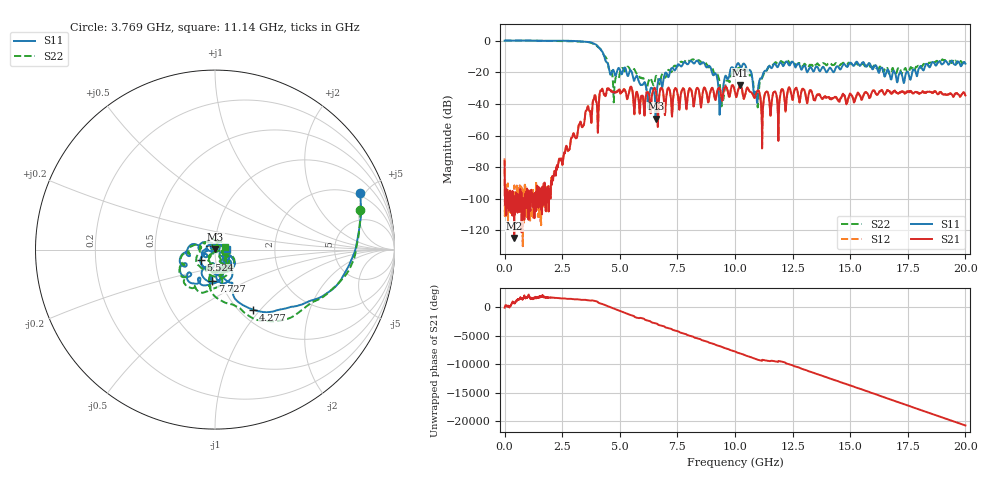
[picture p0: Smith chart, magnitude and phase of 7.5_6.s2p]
#  HZ  S  RI  R  50.00
! Rohde & Schwarz Vector Network Analyzer
! Rohde-Schwarz,ZNB20-2Port,1311601062102128,3.60
! Created: UTC 4/29/2024, 2:54:47 PM
! freq[Hz]  re:S11  im:S11  re:S21  im:S21  re:S12  im:S12  re:S22  im:S22
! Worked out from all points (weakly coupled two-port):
!   2007 points, 100 kHz to 20 GHz, reference 50 ohm
!   highest |S21| = -28.01 dB at 10.22 GHz (marker M1); lowest = -124.8 dB at 418.8 MHz (marker M2)
!   lowest |S11| = -49.4 dB at 6.56 GHz (marker M3), VSWR 1.01, Z = 50.3 + j0.22 ohm
!   |S11| at or under -10 dB: 4.325 GHz to end of sweep
!   |S22| runs from -42.2 to 0.1 dB; largest |S21 - S12| = 0.0023
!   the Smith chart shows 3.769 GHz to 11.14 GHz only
!   S11 on the Smith chart (normalised r, x): 3.769 GHz: 1.80, +4.59; 4.277 GHz: 1.15, -0.91; 5.524 GHz: 0.85, -0.10; 7.727 GHz: 0.91, -0.33; 11.14 GHz: 1.14, +0.00
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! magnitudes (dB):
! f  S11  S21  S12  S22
! 100 kHz  0.0  -76.2  -74.4  0.1
! 418.8 MHz  0.0  -124.8  -91.5  0.0
! 2.223 GHz  -0.1  -85.4  -84.0  -0.3
! 3.34 GHz  -0.6  -53.8  -53.5  -0.6
! 3.769 GHz  -1.2  -51.9  -52.0  -1.5
! 4.277 GHz  -8.1  -32.3  -32.1  -8.4
! 4.776 GHz  -20.9  -32.4  -32.4  -28.1
! 5.524 GHz  -20.1  -30.3  -30.4  -19.1
! 6.56 GHz  -49.4  -31.6  -31.5  -22.6
! 6.67 GHz  -25.5  -44.8  -44.8  -24.8
! 7.727 GHz  -15.2  -30.5  -30.7  -13.7
! 8.893 GHz  -16.1  -34.4  -34.5  -16.8
! 9.382 GHz  -37.7  -33.5  -33.6  -33.9
! 10 GHz  -18.5  -32.4  -32.4  -19.9
! 10.22 GHz  -16.2  -28.0  -28.0  -17.2
! 10.66 GHz  -18.7  -32.5  -32.3  -21.9
! 10.9 GHz  -32.8  -34.6  -34.8  -34.5
! 11.14 GHz  -23.8  -41.5  -41.7  -24.6
! 11.74 GHz  -14.7  -32.2  -32.3  -13.7
! 13.34 GHz  -18.0  -32.7  -32.7  -15.3
! 16.67 GHz  -19.1  -31.9  -31.8  -20.5
! 20 GHz  -14.6  -34.7  -34.7  -14.3
